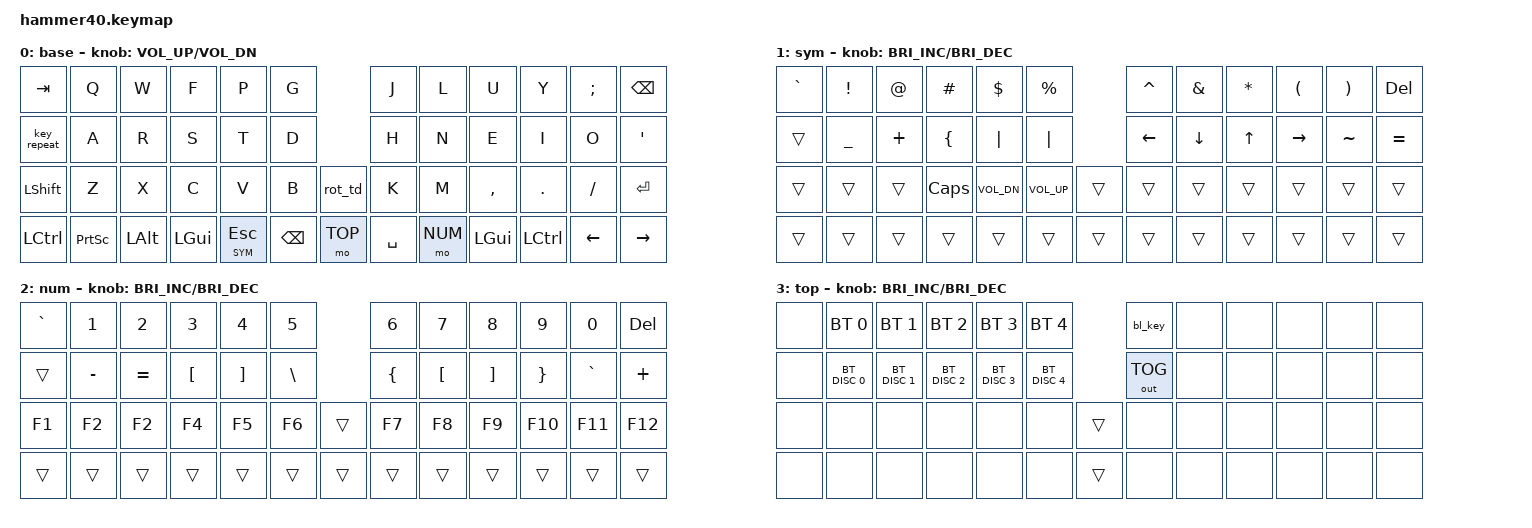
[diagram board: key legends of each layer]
/*
 * Copyright (c) 2020 The ZMK Contributors
 *
 * SPDX-License-Identifier: MIT
 */

#include <behaviors.dtsi>
#include <dt-bindings/zmk/keys.h>
#include <dt-bindings/zmk/bt.h>
#include <dt-bindings/zmk/outputs.h>

/* Layers */
#define BASE 0
#define SYM 1
#define NUM 2
#define TOP 3

/ {
    combos {
        compatible = "zmk,combos";

        combo_bootl {
            timeout-ms = <50>;
            key-positions = <0 1 2>;
            bindings = <&bootloader>;
			require-prior-idle-ms = <3000>;
        };

        combo_reset {
            timeout-ms = <50>;
            key-positions = <9 10 11>;
            bindings = <&sys_reset>;
			require-prior-idle-ms = <3000>;
        };

        combo_softoff {
            timeout-ms = <50>;
            key-positions = <42 43 44>;
            bindings = <&soft_off>;
			require-prior-idle-ms = <3000>;
        };

        combo_btclr {
            timeout-ms = <50>;
            key-positions = <12 13 14>;
            bindings = <&bt BT_CLR>;
			require-prior-idle-ms = <3000>;
        };

        combo_btclrall {
            timeout-ms = <50>;
            key-positions = <34 35 36>;
            bindings = <&bt BT_CLR_ALL>;
			require-prior-idle-ms = <3000>;
        };
    };

    macros {
        bl_key: bl_key {
            compatible = "zmk,behavior-macro";
			#binding-cells = <0>;
			wait-ms = <600>;
            bindings = <&kp N5 &kp N5 &kp N7 &kp N7 &kp N0 &kp N0 &kp N0 &kp N8 &kp N3 &kp N5 &kp N8 &kp N9 &kp N1 &kp N2 &kp N5 &kp N8 &kp N7 &kp N3 &kp N5 &kp N4 &kp N5 &kp N2 &kp N9 &kp N2 &kp N7 &kp N1 &kp N9 &kp N1 &kp N2 &kp N5 &kp N3 &kp N3 &kp N9 &kp N3 &kp N6 &kp N1 &kp N3 &kp N1 &kp N5 &kp N9 &kp N3 &kp N1 &kp N3 &kp N5 &kp N8 &kp N5 &kp N3 &kp N4>;
        };
    };

    behaviors {
        rot_td: rot_tap_dance {
            compatible = "zmk,behavior-tap-dance";
            #binding-cells = <0>;
            tapping-term-ms = <200>;
            bindings = <&kp C_PP>, <&kp C_NEXT>, <&kp C_PREV>;
        };

        ble_encoder: ble_encoder {
            compatible = "zmk,behavior-sensor-rotate";
            #sensor-binding-cells = <0>;
            bindings = <&bt BT_NXT>, <&bt BT_PRV>;
        };
    };

/*   conditional_layers {
 *       compatible = "zmk,conditional-layers";
 *       tri_layer {
 *           if-layers = <SYM NUM>;
 *           then-layer = <TOP>;
 *     };
 * };
*/
    keymap {
        compatible = "zmk,keymap";

        default_layer {
            display-name = "base";
            #sensor-binding-cells = <2>;
            sensor-bindings = <&inc_dec_kp C_VOL_UP C_VOL_DN>;
            bindings = <
                &kp TAB    &kp Q      &kp W      &kp F     &kp P     &kp G               &kp J      &kp L      &kp U      &kp Y     &kp SEMI  &kp BSPC
                &key_repeat   &kp A      &kp R      &kp S     &kp T     &kp D               &kp H      &kp N      &kp E      &kp I     &kp O     &kp APOS
                &kp LSHFT  &kp Z      &kp X      &kp C     &kp V     &kp B    &rot_td	 &kp K      &kp M      &kp COMMA  &kp DOT   &kp FSLH  &kp ENTER
                &kp LCTRL  &kp PSCRN  &kp LALT   &kp LGUI  &lt SYM ESC &kp BSPC  &mo TOP	 &kp SPACE  &mo NUM   &kp LGUI  &kp LCTRL  &kp LEFT   &kp RIGHT
            >;
        };

        sym_layer {
            display-name = "sym";
            sensor-bindings = <&inc_dec_kp C_BRI_INC C_BRI_DEC>;
            bindings = <
                &kp GRAVE &kp EXCL  &kp AT     &kp HASH &kp DLLR     &kp PRCNT				&kp CARET &kp AMPS &kp ASTRK &kp LPAR  &kp RPAR  &kp DEL
				&trans    &kp UNDER &kp PLUS   &kp LBRC &kp PIPE     &kp PIPE				&kp LEFT  &kp DOWN &kp UP    &kp RIGHT &kp TILDE &kp EQUAL
                &trans    &trans    &trans     &kp CAPS &kp C_VOL_DN &kp C_VOL_UP &trans	&trans    &trans   &trans    &trans    &trans    &trans
                &trans    &trans    &trans     &trans   &trans       &trans       &trans	&trans    &trans   &trans    &trans    &trans    &trans
            >;
        };

        num_layer {
            display-name = "num";
            sensor-bindings = <&inc_dec_kp C_BRI_INC C_BRI_DEC>;
            bindings = <
                &kp GRAVE &kp N1    &kp N2    &kp N3   &kp N4   &kp N5			  &kp N6	&kp N7   &kp N8   &kp N9   &kp N0	 &kp DEL
                &trans    &kp MINUS &kp EQUAL &kp LBKT &kp RBKT &kp BSLH		  &kp LBRC  &kp LBKT &kp RBKT &kp RBRC &kp GRAVE &kp PLUS
                &kp F1		  &kp F2		&kp F2		  &kp F4	   &kp F5		&kp F6		 &trans   &kp F7		&kp F8		 &kp F9	  &kp F10		&kp F11	 &kp F12
                &trans    &trans    &trans    &trans   &trans   &trans   &trans   &trans	&trans   &trans   &trans    &trans   &trans
            >;
        };

        top_layer {
            display-name = "top";
            sensor-bindings = <&inc_dec_kp C_BRI_INC C_BRI_DEC>;
            bindings = <
                &none &bt BT_SEL 0  &bt BT_SEL 1  &bt BT_SEL 2  &bt BT_SEL 3  &bt BT_SEL 4			&bl_key	     &none &none &none &none &none
                &none &bt BT_DISC 0 &bt BT_DISC 1 &bt BT_DISC 2 &bt BT_DISC 3 &bt BT_DISC 4			&out OUT_TOG &none &none &none &none &none
                &none &none         &none         &none         &none         &none         &trans	&none		 &none &none &none &none &none
                &none &none         &none         &none         &none         &none         &trans	&none        &none &none &none &none &none
            >;
        };
    };
};
